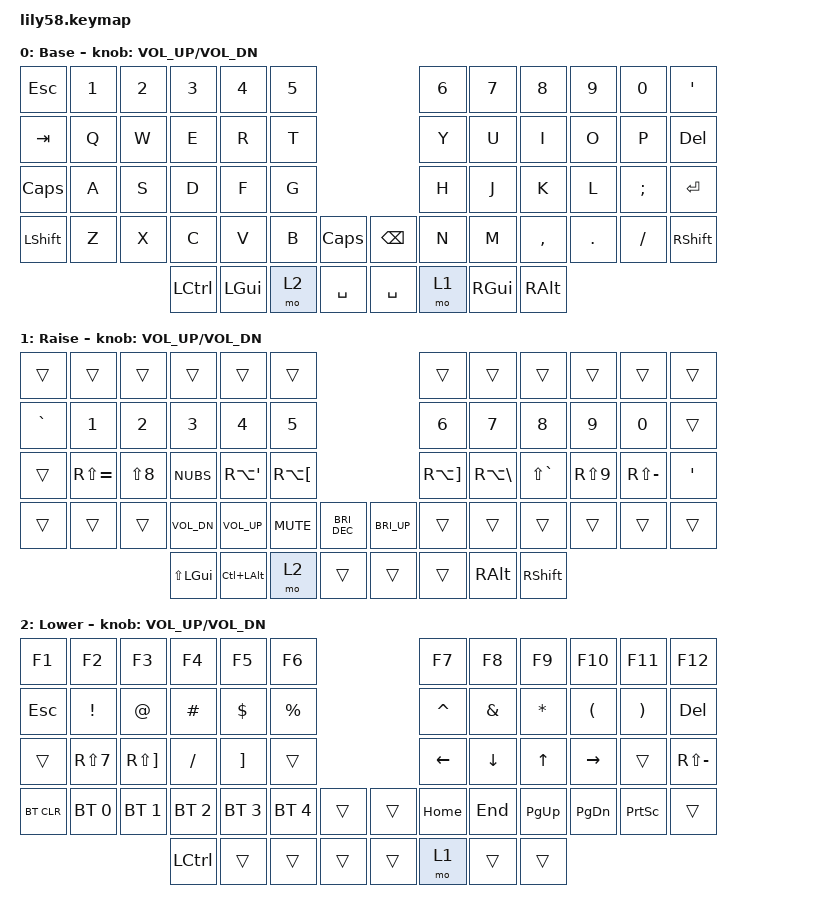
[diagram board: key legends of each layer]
/*
 * Copyright (c) 2020 The ZMK Contributors
 *
 * SPDX-License-Identifier: MIT
 */

#include <behaviors.dtsi>
#include <dt-bindings/zmk/bt.h>
#include <dt-bindings/zmk/keys.h>

/ {
    keymap {
        compatible = "zmk,keymap";

        default_layer {
            // ------------------------------------------------------------------------------------------------------------
            // |  ESC  |  1  |  2  |  3   |  4   |  5   |                   |  6   |  7    |  8    |  9   |   0   |   º   |
            // |  TAB  |  Q  |  W  |  E   |  R   |  T   |                   |  Y   |  U    |  I    |  O   |   P   |   BSPC   |
            // |  SHIFT |  A  |  S  |  D   |  F   |  G   |                   |  H   |  J    |  K    |  L   |   Ñ   |   ENTER  |
            // | CTRL |  Z  |  X  |  C   |  V   |  B   |   CAPS  |  |  BSPC  |  N   |  M    |  ,    |  .   |   -   | SHIFT |
            //                     | ALT  | GUI  | LOWER|  SPACE |  | SPACE | RAISE| GUI  | ALT   |

            display-name = "Base";
            bindings = <
&kp ESC         &kp N1  &kp N2  &kp N3            &kp N4    &kp N5                          &kp N6  &kp N7    &kp N8     &kp N9   &kp N0    &kp SINGLE_QUOTE
&kp TAB         &kp Q   &kp W   &kp E             &kp R     &kp T                           &kp Y   &kp U     &kp I      &kp O    &kp P     &kp DEL
&kp CAPSLOCK    &kp A   &kp S   &kp D             &kp F     &kp G                           &kp H   &kp J     &kp K      &kp L    &kp SEMI  &kp RET
&kp LEFT_SHIFT  &kp Z   &kp X   &kp C             &kp V     &kp B   &kp CAPS     &kp BSPC   &kp N   &kp M     &kp COMMA  &kp DOT  &kp FSLH  &kp RSHFT
                                &kp LEFT_CONTROL  &kp LGUI  &mo 2   &kp SPACE    &kp SPACE  &mo 1   &kp RGUI  &kp RALT
            >;

            sensor-bindings = <&inc_dec_kp C_VOL_UP C_VOL_DN>;
        };

        raise_layer {
            // ------------------------------------------------------------------------------------------------------------
            // |       |     |     |      |      |      |                   |      |       |       |      |       |       |
            // |   `   |  1  |  2  |  3   |  4   |  5   |                   |  6   |   7   |   8   |  9   |   0   |       |
            // |   F1  |  F2 |  F3 |  F4  |  F5  |  F6  |                   |      |   <-  |   v   |  ^   |  ->   |       |
            // |   F7  |  F8 |  F9 |  F10 |  F11 |  F12 |        |  |       |  +   |   -   |   =   |  [   |   ]   |   \   |
            //                     |      |      |      |        |  |       |      |       |       |

            display-name = "Raise";
            bindings = <
&trans     &trans         &trans      &trans            &trans                &trans                                               &trans                 &trans             &trans         &trans            &trans         &trans
&kp GRAVE  &kp N1         &kp N2      &kp N3            &kp N4                &kp N5                                               &kp N6                 &kp N7             &kp N8         &kp N9            &kp N0         &trans
&trans     &kp RS(EQUAL)  &kp LS(N8)  &kp NUBS          &kp RA(SINGLE_QUOTE)  &kp RA(LEFT_BRACKET)                                 &kp RA(RIGHT_BRACKET)  &kp RA(BACKSLASH)  &kp LS(GRAVE)  &kp RS(NUMBER_9)  &kp RS(MINUS)  &kp SINGLE_QUOTE
&trans     &trans         &trans      &kp C_VOL_DN      &kp C_VOLUME_UP       &kp K_MUTE            &kp C_BRI_DEC    &kp C_BRI_UP  &trans                 &trans             &trans         &trans            &trans         &trans
                                      &kp LS(LEFT_GUI)  &kp LC(LEFT_ALT)      &mo 2                 &trans           &trans        &trans                 &kp RALT           &kp RSHFT
            >;

            sensor-bindings = <&inc_dec_kp C_VOL_UP C_VOL_DN>;
        };

        lower_layer {
            // ------------------------------------------------------------------------------------------------------------
            // | BTCLR | BT1 | BT2 |  BT3 |  BT4 |  BT5 |                   |      |       |       |      |       |       |
            // |  F1   |  F2 |  F3 |  F4  |  F5  |  F6  |                   |  F7  |  F8   |  F9   |  F10 |  F11  |  F12  |
            // |   `   |  !  |  @  |  #   |  $   |  %   |                   |  ^   |  &    |  *    |  (   |   )   |   ~   |
            // |       |     |     |      |      |      |        |  |       |      |  _    |  +    |  {   |   }   |  "|"  |
            //                     |      |      |      |        |  |       |      |  GUI     |       |

            display-name = "Lower";
            bindings = <
&kp F1      &kp F2        &kp F3                 &kp F4            &kp F5             &kp F6                          &kp F7     &kp F8          &kp F9        &kp F10               &kp F11                &kp F12
&kp ESCAPE  &kp EXCL      &kp AT                 &kp HASH          &kp DOLLAR         &kp PERCENT                     &kp CARET  &kp AMPERSAND   &kp ASTRK     &kp LEFT_PARENTHESIS  &kp RIGHT_PARENTHESIS  &kp DEL
&trans      &kp RS(N7)    &kp RS(RIGHT_BRACKET)  &kp SLASH         &kp RIGHT_BRACKET  &trans                          &kp LEFT   &kp DOWN_ARROW  &kp UP_ARROW  &kp RIGHT             &trans                 &kp RS(MINUS)
&bt BT_CLR  &bt BT_SEL 0  &bt BT_SEL 1           &bt BT_SEL 2      &bt BT_SEL 3       &bt BT_SEL 4  &trans    &trans  &kp HOME   &kp END         &kp PAGE_UP   &kp PAGE_DOWN         &kp PRINTSCREEN        &trans
                                                 &kp LEFT_CONTROL  &trans             &trans        &trans    &trans  &mo 1      &trans          &trans
            >;

            sensor-bindings = <&inc_dec_kp C_VOL_UP C_VOL_DN>;
        };
    };

    displays {
        compatible = "zmk,displays";

        display1 {
            label = "Display1";
            width = <128>;
            height = <32>;
            i2c = &i2c0;
            address = <0x3C>;

            // Configuración específica del primer display
        };

        display2 {
            label = "Display2";
            width = <128>;
            height = <32>;
            i2c = &i2c1;
            address = <0x3D>;

            // Configuración específica del segundo display
        };
    };
};
